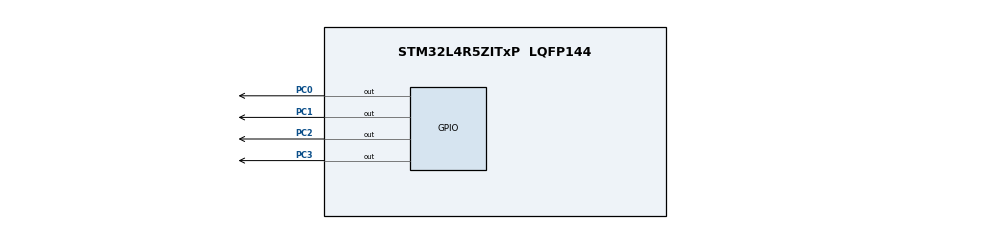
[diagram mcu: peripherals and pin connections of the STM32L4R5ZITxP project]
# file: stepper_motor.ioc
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Mcu.Family=STM32L4
Mcu.Name=STM32L4R5ZITxP
Mcu.Package=LQFP144
NVIC.PriorityGroup=NVIC_PRIORITYGROUP_4
PA0.Signal=S_TIM2_CH1
PA1.Signal=ADCx_IN6
PA10.Signal=USB_OTG_FS_ID
PA13\ (JTMS/SWDIO).Signal=SYS_JTMS-SWDIO
PA14\ (JTCK/SWCLK).Signal=SYS_JTCK-SWCLK
PA3.Signal=ADCx_IN8
PA4.Signal=SPI1_NSS
PA5.Signal=SPI1_SCK
PA6.Signal=SPI1_MISO
PA7.Signal=SPI1_MOSI
PA8.Signal=USB_OTG_FS_SOF
PA9.Signal=USB_OTG_FS_VBUS
PB0.Signal=S_TIM3_CH3
PB1.Signal=ADCx_IN16
PB10.Signal=S_TIM2_CH3
PB12.Signal=SAI2_FS_A
PB13.Signal=SAI2_SCK_A
PB14.Signal=S_TIM15_CH1
PB15.Signal=SAI2_SD_A
PB2.Signal=COMP1_INP
PB3\ (JTDO/TRACESWO).Signal=SPI3_SCK
PB4\ (NJTRST).Signal=SPI3_MISO
PB5.Signal=SPI3_MOSI
PB6.Signal=COMP2_INP
PB8.Signal=I2C1_SCL
PB9.Signal=I2C1_SDA
PC0.Signal=GPIO_Output
PC1.Signal=GPIO_Output
PC10.Signal=SDMMC1_D2
PC11.Signal=SDMMC1_D3
PC12.Signal=SDMMC1_CK
PC13.Signal=SYS_WKUP2
PC14-OSC32_IN\ (PC14).Signal=RCC_OSC32_IN
PC15-OSC32_OUT\ (PC15).Signal=RCC_OSC32_OUT
PC2.Signal=GPIO_Output
PC3.Signal=GPIO_Output
PC4.Signal=ADCx_IN13
PC5.Signal=ADCx_IN14
PC6.Signal=SAI2_MCLK_A
PC7.Signal=S_TIM3_CH2
PC8.Signal=SDMMC1_D0
PC9.Signal=SDMMC1_D1
PD0.Signal=CAN1_RX
PD14.Signal=S_TIM4_CH3
PD15.Signal=S_TIM4_CH4
PD2.Signal=SDMMC1_CMD
PD3.Signal=USART2_CTS
PD4.Signal=USART2_RTS
PD5.Signal=USART2_TX
PD6.Signal=USART2_RX
PD8.Signal=USART3_TX
PD9.Signal=USART3_RX
PE0.Signal=S_TIM4_ETR
PE10.Signal=TIM1_CH2N
PE11.Signal=S_TIM1_CH2
PE12.Signal=TIM1_CH3N
PE13.Signal=S_TIM1_CH3
PE14.Signal=TIM1_BKIN2
PE15.Signal=TIM1_BKIN
PE2.Signal=SAI1_MCLK_A
PE3.Signal=SAI1_SD_B
PE7.Signal=S_TIM1_ETR
PE8.Signal=TIM1_CH1N
PE9.Signal=S_TIM1_CH1
PF0.Signal=I2C2_SDA
PF1.Signal=I2C2_SCL
PF2.Signal=I2C2_SMBA
PF7.Signal=SAI1_MCLK_B
PG7.Signal=LPUART1_TX
PG8.Signal=LPUART1_RX
PH0-OSC_IN\ (PH0).Signal=RCC_OSC_IN
PH1-OSC_OUT\ (PH1).Signal=RCC_OSC_OUT
ProjectManager.HeapSize=0x200
ProjectManager.StackSize=0x400
ProjectManager.TargetToolchain=STM32CubeIDE
RCC.HSE_VALUE=8000000
RCC.HSI48_VALUE=48000000
RCC.HSI_VALUE=16000000
RCC.LSE_VALUE=32768
RCC.MSI_VALUE=4000000
RCC.VCOOutputFreq_Value=32000000
SH.ADCx_IN13.0=ADC1_IN13
SH.ADCx_IN14.0=ADC1_IN14
SH.ADCx_IN16.0=ADC1_IN16
SH.ADCx_IN6.0=ADC1_IN6
SH.ADCx_IN8.0=ADC1_IN8
SH.S_TIM15_CH1.0=TIM15_CH1
SH.S_TIM1_CH1.0=TIM1_CH1
SH.S_TIM1_CH2.0=TIM1_CH2
SH.S_TIM1_CH3.0=TIM1_CH3
SH.S_TIM1_ETR.0=TIM1_ETR
SH.S_TIM2_CH1.0=TIM2_CH1
SH.S_TIM2_CH3.0=TIM2_CH3
SH.S_TIM3_CH2.0=TIM3_CH2
SH.S_TIM3_CH3.0=TIM3_CH3
SH.S_TIM4_CH3.0=TIM4_CH3
SH.S_TIM4_CH4.0=TIM4_CH4
SH.S_TIM4_ETR.0=TIM4_ETR
board=NUCLEO-L4R5ZI-P

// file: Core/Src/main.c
/* USER CODE BEGIN Header */
/**
  ******************************************************************************
  * @file           : main.c
  * @brief          : Main program body
  ******************************************************************************
  * @attention
  *
  * Copyright (c) 2024 STMicroelectronics.
  * All rights reserved.
  *
  * This software is licensed under terms that can be found in the LICENSE file
  * in the root directory of this software component.
  * If no LICENSE file comes with this software, it is provided AS-IS.
  *
  ******************************************************************************
  */
/* USER CODE END Header */
#include "main.h"

void SystemClock_Config(void);
static void MX_GPIO_Init(void);

/* USER CODE BEGIN 0 */
void stepper_rotate_clockwise() { // Define step sequence for clockwise rotation
	int steps[8][4] =
			{ {1, 0, 0, 0},
			{1, 1, 0, 0},
			{0, 1, 0, 0},
			{0, 1, 1, 0},
			{0, 0, 1, 0},
			{0, 0, 1, 1},
			{0, 0, 0, 1},
			{1, 0, 0, 1} };
	 for (int i = 0; i < 8; i++) { // Set GPIOs based on steps[i] values
		 HAL_GPIO_WritePin(GPIOC, GPIO_PIN_0, steps[i][0]);
		 HAL_GPIO_WritePin(GPIOC, GPIO_PIN_1, steps[i][1]);
		 HAL_GPIO_WritePin(GPIOC, GPIO_PIN_2, steps[i][2]);
		 HAL_GPIO_WritePin(GPIOC, GPIO_PIN_3, steps[i][3]);
		 HAL_Delay(2); // Adjust delay for speed control
	}
}

/* USER CODE END 0 */

int main(void)
{

  /* MCU Configuration--------------------------------------------------------*/

  /* Reset of all peripherals, Initializes the Flash interface and the Systick. */
  HAL_Init();

  /* Configure the system clock */
  SystemClock_Config();

  /* Initialize all configured peripherals */
  MX_GPIO_Init();

  /* Infinite loop */
  /* USER CODE BEGIN WHILE */
  while (1)
  {
	  stepper_rotate_clockwise();
    /* USER CODE END WHILE */

  }
}

void SystemClock_Config(void)
{
  RCC_OscInitTypeDef RCC_OscInitStruct = {0};
  RCC_ClkInitTypeDef RCC_ClkInitStruct = {0};

  /** Configure the main internal regulator output voltage
  */
  if (HAL_PWREx_ControlVoltageScaling(PWR_REGULATOR_VOLTAGE_SCALE1) != HAL_OK)
  {
    Error_Handler();
  }

  /** Initializes the RCC Oscillators according to the specified parameters
  * in the RCC_OscInitTypeDef structure.
  */
  RCC_OscInitStruct.OscillatorType = RCC_OSCILLATORTYPE_MSI;
  RCC_OscInitStruct.MSIState = RCC_MSI_ON;
  RCC_OscInitStruct.MSICalibrationValue = 0;
  RCC_OscInitStruct.MSIClockRange = RCC_MSIRANGE_6;
  RCC_OscInitStruct.PLL.PLLState = RCC_PLL_NONE;
  if (HAL_RCC_OscConfig(&RCC_OscInitStruct) != HAL_OK)
  {
    Error_Handler();
  }

  /** Initializes the CPU, AHB and APB buses clocks
  */
  RCC_ClkInitStruct.ClockType = RCC_CLOCKTYPE_HCLK|RCC_CLOCKTYPE_SYSCLK
                              |RCC_CLOCKTYPE_PCLK1|RCC_CLOCKTYPE_PCLK2;
  RCC_ClkInitStruct.SYSCLKSource = RCC_SYSCLKSOURCE_MSI;
  RCC_ClkInitStruct.AHBCLKDivider = RCC_SYSCLK_DIV1;
  RCC_ClkInitStruct.APB1CLKDivider = RCC_HCLK_DIV1;
  RCC_ClkInitStruct.APB2CLKDivider = RCC_HCLK_DIV1;

  if (HAL_RCC_ClockConfig(&RCC_ClkInitStruct, FLASH_LATENCY_0) != HAL_OK)
  {
    Error_Handler();
  }
}

static void MX_GPIO_Init(void)
{
  GPIO_InitTypeDef GPIO_InitStruct = {0};

  /* GPIO Ports Clock Enable */
  __HAL_RCC_GPIOE_CLK_ENABLE();
  __HAL_RCC_GPIOC_CLK_ENABLE();
  __HAL_RCC_GPIOF_CLK_ENABLE();
  __HAL_RCC_GPIOH_CLK_ENABLE();
  __HAL_RCC_GPIOA_CLK_ENABLE();
  __HAL_RCC_GPIOB_CLK_ENABLE();
  __HAL_RCC_GPIOD_CLK_ENABLE();
  __HAL_RCC_GPIOG_CLK_ENABLE();
  HAL_PWREx_EnableVddIO2();

  /*Configure GPIO pin Output Level */
  HAL_GPIO_WritePin(GPIOC, GPIO_PIN_0|GPIO_PIN_1|GPIO_PIN_2|GPIO_PIN_3, GPIO_PIN_RESET);

  /*Configure GPIO pins : PE2 PE3 */
  GPIO_InitStruct.Pin = GPIO_PIN_2|GPIO_PIN_3;
  GPIO_InitStruct.Mode = GPIO_MODE_AF_PP;
  GPIO_InitStruct.Pull = GPIO_NOPULL;
  GPIO_InitStruct.Speed = GPIO_SPEED_FREQ_LOW;
  GPIO_InitStruct.Alternate = GPIO_AF13_SAI1;
  HAL_GPIO_Init(GPIOE, &GPIO_InitStruct);

  /*Configure GPIO pins : PF0 PF1 PF2 */
  GPIO_InitStruct.Pin = GPIO_PIN_0|GPIO_PIN_1|GPIO_PIN_2;
  GPIO_InitStruct.Mode = GPIO_MODE_AF_OD;
  GPIO_InitStruct.Pull = GPIO_NOPULL;
  GPIO_InitStruct.Speed = GPIO_SPEED_FREQ_VERY_HIGH;
  GPIO_InitStruct.Alternate = GPIO_AF4_I2C2;
  HAL_GPIO_Init(GPIOF, &GPIO_InitStruct);

  /*Configure GPIO pin : PF7 */
  GPIO_InitStruct.Pin = GPIO_PIN_7;
  GPIO_InitStruct.Mode = GPIO_MODE_AF_PP;
  GPIO_InitStruct.Pull = GPIO_NOPULL;
  GPIO_InitStruct.Speed = GPIO_SPEED_FREQ_LOW;
  GPIO_InitStruct.Alternate = GPIO_AF13_SAI1;
  HAL_GPIO_Init(GPIOF, &GPIO_InitStruct);

  /*Configure GPIO pins : PC0 PC1 PC2 PC3 */
  GPIO_InitStruct.Pin = GPIO_PIN_0|GPIO_PIN_1|GPIO_PIN_2|GPIO_PIN_3;
  GPIO_InitStruct.Mode = GPIO_MODE_OUTPUT_PP;
  GPIO_InitStruct.Pull = GPIO_NOPULL;
  GPIO_InitStruct.Speed = GPIO_SPEED_FREQ_LOW;
  HAL_GPIO_Init(GPIOC, &GPIO_InitStruct);

  /*Configure GPIO pin : PA0 */
  GPIO_InitStruct.Pin = GPIO_PIN_0;
  GPIO_InitStruct.Mode = GPIO_MODE_AF_PP;
  GPIO_InitStruct.Pull = GPIO_NOPULL;
  GPIO_InitStruct.Speed = GPIO_SPEED_FREQ_LOW;
  GPIO_InitStruct.Alternate = GPIO_AF1_TIM2;
  HAL_GPIO_Init(GPIOA, &GPIO_InitStruct);

  /*Configure GPIO pins : PA1 PA3 */
  GPIO_InitStruct.Pin = GPIO_PIN_1|GPIO_PIN_3;
  GPIO_InitStruct.Mode = GPIO_MODE_ANALOG_ADC_CONTROL;
  GPIO_InitStruct.Pull = GPIO_NOPULL;
  HAL_GPIO_Init(GPIOA, &GPIO_InitStruct);

  /*Configure GPIO pins : PA4 PA5 PA6 PA7 */
  GPIO_InitStruct.Pin = GPIO_PIN_4|GPIO_PIN_5|GPIO_PIN_6|GPIO_PIN_7;
  GPIO_InitStruct.Mode = GPIO_MODE_AF_PP;
  GPIO_InitStruct.Pull = GPIO_NOPULL;
  GPIO_InitStruct.Speed = GPIO_SPEED_FREQ_VERY_HIGH;
  GPIO_InitStruct.Alternate = GPIO_AF5_SPI1;
  HAL_GPIO_Init(GPIOA, &GPIO_InitStruct);

  /*Configure GPIO pins : PC4 PC5 */
  GPIO_InitStruct.Pin = GPIO_PIN_4|GPIO_PIN_5;
  GPIO_InitStruct.Mode = GPIO_MODE_ANALOG_ADC_CONTROL;
  GPIO_InitStruct.Pull = GPIO_NOPULL;
  HAL_GPIO_Init(GPIOC, &GPIO_InitStruct);

  /*Configure GPIO pin : PB0 */
  GPIO_InitStruct.Pin = GPIO_PIN_0;
  GPIO_InitStruct.Mode = GPIO_MODE_AF_PP;
  GPIO_InitStruct.Pull = GPIO_NOPULL;
  GPIO_InitStruct.Speed = GPIO_SPEED_FREQ_LOW;
  GPIO_InitStruct.Alternate = GPIO_AF2_TIM3;
  HAL_GPIO_Init(GPIOB, &GPIO_InitStruct);

  /*Configure GPIO pin : PB1 */
  GPIO_InitStruct.Pin = GPIO_PIN_1;
  GPIO_InitStruct.Mode = GPIO_MODE_ANALOG_ADC_CONTROL;
  GPIO_InitStruct.Pull = GPIO_NOPULL;
  HAL_GPIO_Init(GPIOB, &GPIO_InitStruct);

  /*Configure GPIO pins : PB2 PB6 */
  GPIO_InitStruct.Pin = GPIO_PIN_2|GPIO_PIN_6;
  GPIO_InitStruct.Mode = GPIO_MODE_ANALOG;
  GPIO_InitStruct.Pull = GPIO_NOPULL;
  HAL_GPIO_Init(GPIOB, &GPIO_InitStruct);

  /*Configure GPIO pins : PE7 PE8 PE9 PE10
                           PE11 PE12 PE13 */
  GPIO_InitStruct.Pin = GPIO_PIN_7|GPIO_PIN_8|GPIO_PIN_9|GPIO_PIN_10
                          |GPIO_PIN_11|GPIO_PIN_12|GPIO_PIN_13;
  GPIO_InitStruct.Mode = GPIO_MODE_AF_PP;
  GPIO_InitStruct.Pull = GPIO_NOPULL;
  GPIO_InitStruct.Speed = GPIO_SPEED_FREQ_LOW;
  GPIO_InitStruct.Alternate = GPIO_AF1_TIM1;
  HAL_GPIO_Init(GPIOE, &GPIO_InitStruct);

  /*Configure GPIO pins : PE14 PE15 */
  GPIO_InitStruct.Pin = GPIO_PIN_14|GPIO_PIN_15;
  GPIO_InitStruct.Mode = GPIO_MODE_AF_PP;
  GPIO_InitStruct.Pull = GPIO_NOPULL;
  GPIO_InitStruct.Speed = GPIO_SPEED_FREQ_LOW;
  GPIO_InitStruct.Alternate = GPIO_AF3_TIM1_COMP1;
  HAL_GPIO_Init(GPIOE, &GPIO_InitStruct);

  /*Configure GPIO pin : PB10 */
  GPIO_InitStruct.Pin = GPIO_PIN_10;
  GPIO_InitStruct.Mode = GPIO_MODE_AF_PP;
  GPIO_InitStruct.Pull = GPIO_NOPULL;
  GPIO_InitStruct.Speed = GPIO_SPEED_FREQ_LOW;
  GPIO_InitStruct.Alternate = GPIO_AF1_TIM2;
  HAL_GPIO_Init(GPIOB, &GPIO_InitStruct);

  /*Configure GPIO pins : PB12 PB13 PB15 */
  GPIO_InitStruct.Pin = GPIO_PIN_12|GPIO_PIN_13|GPIO_PIN_15;
  GPIO_InitStruct.Mode = GPIO_MODE_AF_PP;
  GPIO_InitStruct.Pull = GPIO_NOPULL;
  GPIO_InitStruct.Speed = GPIO_SPEED_FREQ_LOW;
  GPIO_InitStruct.Alternate = GPIO_AF13_SAI2;
  HAL_GPIO_Init(GPIOB, &GPIO_InitStruct);

  /*Configure GPIO pin : PB14 */
  GPIO_InitStruct.Pin = GPIO_PIN_14;
  GPIO_InitStruct.Mode = GPIO_MODE_AF_PP;
  GPIO_InitStruct.Pull = GPIO_NOPULL;
  GPIO_InitStruct.Speed = GPIO_SPEED_FREQ_LOW;
  GPIO_InitStruct.Alternate = GPIO_AF14_TIM15;
  HAL_GPIO_Init(GPIOB, &GPIO_InitStruct);

  /*Configure GPIO pins : PD8 PD9 */
  GPIO_InitStruct.Pin = GPIO_PIN_8|GPIO_PIN_9;
  GPIO_InitStruct.Mode = GPIO_MODE_AF_PP;
  GPIO_InitStruct.Pull = GPIO_NOPULL;
  GPIO_InitStruct.Speed = GPIO_SPEED_FREQ_VERY_HIGH;
  GPIO_InitStruct.Alternate = GPIO_AF7_USART3;
  HAL_GPIO_Init(GPIOD, &GPIO_InitStruct);

  /*Configure GPIO pins : PD14 PD15 */
  GPIO_InitStruct.Pin = GPIO_PIN_14|GPIO_PIN_15;
  GPIO_InitStruct.Mode = GPIO_MODE_AF_PP;
  GPIO_InitStruct.Pull = GPIO_NOPULL;
  GPIO_InitStruct.Speed = GPIO_SPEED_FREQ_LOW;
  GPIO_InitStruct.Alternate = GPIO_AF2_TIM4;
  HAL_GPIO_Init(GPIOD, &GPIO_InitStruct);

  /*Configure GPIO pins : PG7 PG8 */
  GPIO_InitStruct.Pin = GPIO_PIN_7|GPIO_PIN_8;
  GPIO_InitStruct.Mode = GPIO_MODE_AF_PP;
  GPIO_InitStruct.Pull = GPIO_NOPULL;
  GPIO_InitStruct.Speed = GPIO_SPEED_FREQ_VERY_HIGH;
  GPIO_InitStruct.Alternate = GPIO_AF8_LPUART1;
  HAL_GPIO_Init(GPIOG, &GPIO_InitStruct);

  /*Configure GPIO pin : PC6 */
  GPIO_InitStruct.Pin = GPIO_PIN_6;
  GPIO_InitStruct.Mode = GPIO_MODE_AF_PP;
  GPIO_InitStruct.Pull = GPIO_NOPULL;
  GPIO_InitStruct.Speed = GPIO_SPEED_FREQ_LOW;
  GPIO_InitStruct.Alternate = GPIO_AF13_SAI2;
  HAL_GPIO_Init(GPIOC, &GPIO_InitStruct);

  /*Configure GPIO pin : PC7 */
  GPIO_InitStruct.Pin = GPIO_PIN_7;
  GPIO_InitStruct.Mode = GPIO_MODE_AF_PP;
  GPIO_InitStruct.Pull = GPIO_NOPULL;
  GPIO_InitStruct.Speed = GPIO_SPEED_FREQ_LOW;
  GPIO_InitStruct.Alternate = GPIO_AF2_TIM3;
  HAL_GPIO_Init(GPIOC, &GPIO_InitStruct);

  /*Configure GPIO pins : PC8 PC9 PC10 PC11
                           PC12 */
  GPIO_InitStruct.Pin = GPIO_PIN_8|GPIO_PIN_9|GPIO_PIN_10|GPIO_PIN_11
                          |GPIO_PIN_12;
  GPIO_InitStruct.Mode = GPIO_MODE_AF_PP;
  GPIO_InitStruct.Pull = GPIO_NOPULL;
  GPIO_InitStruct.Speed = GPIO_SPEED_FREQ_VERY_HIGH;
  GPIO_InitStruct.Alternate = GPIO_AF12_SDMMC1;
  HAL_GPIO_Init(GPIOC, &GPIO_InitStruct);

  /*Configure GPIO pins : PA8 PA10 */
  GPIO_InitStruct.Pin = GPIO_PIN_8|GPIO_PIN_10;
  GPIO_InitStruct.Mode = GPIO_MODE_AF_PP;
  GPIO_InitStruct.Pull = GPIO_NOPULL;
  GPIO_InitStruct.Speed = GPIO_SPEED_FREQ_VERY_HIGH;
  GPIO_InitStruct.Alternate = GPIO_AF10_OTG_FS;
  HAL_GPIO_Init(GPIOA, &GPIO_InitStruct);

  /*Configure GPIO pin : PA9 */
  GPIO_InitStruct.Pin = GPIO_PIN_9;
  GPIO_InitStruct.Mode = GPIO_MODE_INPUT;
  GPIO_InitStruct.Pull = GPIO_NOPULL;
  HAL_GPIO_Init(GPIOA, &GPIO_InitStruct);

  /*Configure GPIO pin : PD0 */
  GPIO_InitStruct.Pin = GPIO_PIN_0;
  GPIO_InitStruct.Mode = GPIO_MODE_AF_PP;
  GPIO_InitStruct.Pull = GPIO_NOPULL;
  GPIO_InitStruct.Speed = GPIO_SPEED_FREQ_VERY_HIGH;
  GPIO_InitStruct.Alternate = GPIO_AF9_CAN1;
  HAL_GPIO_Init(GPIOD, &GPIO_InitStruct);

  /*Configure GPIO pin : PD2 */
  GPIO_InitStruct.Pin = GPIO_PIN_2;
  GPIO_InitStruct.Mode = GPIO_MODE_AF_PP;
  GPIO_InitStruct.Pull = GPIO_NOPULL;
  GPIO_InitStruct.Speed = GPIO_SPEED_FREQ_VERY_HIGH;
  GPIO_InitStruct.Alternate = GPIO_AF12_SDMMC1;
  HAL_GPIO_Init(GPIOD, &GPIO_InitStruct);

  /*Configure GPIO pins : PD3 PD4 PD5 PD6 */
  GPIO_InitStruct.Pin = GPIO_PIN_3|GPIO_PIN_4|GPIO_PIN_5|GPIO_PIN_6;
  GPIO_InitStruct.Mode = GPIO_MODE_AF_PP;
  GPIO_InitStruct.Pull = GPIO_NOPULL;
  GPIO_InitStruct.Speed = GPIO_SPEED_FREQ_VERY_HIGH;
  GPIO_InitStruct.Alternate = GPIO_AF7_USART2;
  HAL_GPIO_Init(GPIOD, &GPIO_InitStruct);

  /*Configure GPIO pins : PB3 PB4 PB5 */
  GPIO_InitStruct.Pin = GPIO_PIN_3|GPIO_PIN_4|GPIO_PIN_5;
  GPIO_InitStruct.Mode = GPIO_MODE_AF_PP;
  GPIO_InitStruct.Pull = GPIO_NOPULL;
  GPIO_InitStruct.Speed = GPIO_SPEED_FREQ_VERY_HIGH;
  GPIO_InitStruct.Alternate = GPIO_AF6_SPI3;
  HAL_GPIO_Init(GPIOB, &GPIO_InitStruct);

  /*Configure GPIO pins : PB8 PB9 */
  GPIO_InitStruct.Pin = GPIO_PIN_8|GPIO_PIN_9;
  GPIO_InitStruct.Mode = GPIO_MODE_AF_OD;
  GPIO_InitStruct.Pull = GPIO_NOPULL;
  GPIO_InitStruct.Speed = GPIO_SPEED_FREQ_VERY_HIGH;
  GPIO_InitStruct.Alternate = GPIO_AF4_I2C1;
  HAL_GPIO_Init(GPIOB, &GPIO_InitStruct);

  /*Configure GPIO pin : PE0 */
  GPIO_InitStruct.Pin = GPIO_PIN_0;
  GPIO_InitStruct.Mode = GPIO_MODE_AF_PP;
  GPIO_InitStruct.Pull = GPIO_NOPULL;
  GPIO_InitStruct.Speed = GPIO_SPEED_FREQ_LOW;
  GPIO_InitStruct.Alternate = GPIO_AF2_TIM4;
  HAL_GPIO_Init(GPIOE, &GPIO_InitStruct);

}

void Error_Handler(void)
{
  __disable_irq();
  while (1)
  {
  }
}
